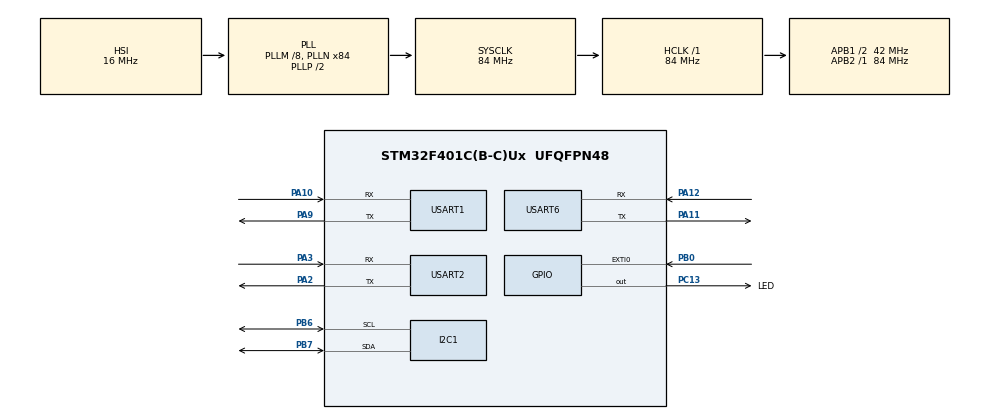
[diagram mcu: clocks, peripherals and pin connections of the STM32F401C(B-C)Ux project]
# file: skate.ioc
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Dma.Request0=USART1_RX
Dma.Request1=USART2_RX
Dma.Request2=USART6_RX
Dma.USART1_RX.0.Direction=DMA_PERIPH_TO_MEMORY
Dma.USART1_RX.0.FIFOMode=DMA_FIFOMODE_DISABLE
Dma.USART1_RX.0.Instance=DMA2_Stream2
Dma.USART1_RX.0.MemDataAlignment=DMA_MDATAALIGN_BYTE
Dma.USART1_RX.0.MemInc=DMA_MINC_ENABLE
Dma.USART1_RX.0.Mode=DMA_CIRCULAR
Dma.USART1_RX.0.PeriphDataAlignment=DMA_PDATAALIGN_BYTE
Dma.USART1_RX.0.PeriphInc=DMA_PINC_DISABLE
Dma.USART1_RX.0.Priority=DMA_PRIORITY_LOW
Dma.USART2_RX.1.Direction=DMA_PERIPH_TO_MEMORY
Dma.USART2_RX.1.FIFOMode=DMA_FIFOMODE_DISABLE
Dma.USART2_RX.1.Instance=DMA1_Stream5
Dma.USART2_RX.1.MemDataAlignment=DMA_MDATAALIGN_BYTE
Dma.USART2_RX.1.MemInc=DMA_MINC_ENABLE
Dma.USART2_RX.1.Mode=DMA_CIRCULAR
Dma.USART2_RX.1.PeriphDataAlignment=DMA_PDATAALIGN_BYTE
Dma.USART2_RX.1.PeriphInc=DMA_PINC_DISABLE
Dma.USART2_RX.1.Priority=DMA_PRIORITY_LOW
Dma.USART6_RX.2.Direction=DMA_PERIPH_TO_MEMORY
Dma.USART6_RX.2.FIFOMode=DMA_FIFOMODE_DISABLE
Dma.USART6_RX.2.Instance=DMA2_Stream1
Dma.USART6_RX.2.MemDataAlignment=DMA_MDATAALIGN_BYTE
Dma.USART6_RX.2.MemInc=DMA_MINC_ENABLE
Dma.USART6_RX.2.Mode=DMA_CIRCULAR
Dma.USART6_RX.2.PeriphDataAlignment=DMA_PDATAALIGN_BYTE
Dma.USART6_RX.2.PeriphInc=DMA_PINC_DISABLE
Dma.USART6_RX.2.Priority=DMA_PRIORITY_LOW
FREERTOS.Tasks01=defaultTask,48,2048,StartDefaultTask,Default,NULL,Static,defaultTaskBuffer,defaultTaskControlBlock;comms,8,2048,StartTask02,Default,NULL,Static,commsBuffer,commsControlBlock
FREERTOS.configCHECK_FOR_STACK_OVERFLOW=2
FREERTOS.configENABLE_BACKWARD_COMPATIBILITY=1
FREERTOS.configMINIMAL_STACK_SIZE=256
FREERTOS.configTOTAL_HEAP_SIZE=25360
I2C1.I2C_Mode=I2C_Fast
Mcu.Family=STM32F4
Mcu.Name=STM32F401C(B-C)Ux
Mcu.Package=UFQFPN48
NVIC.DMA1_Stream5_IRQn=true\:5\:0\:false\:false\:true\:true\:false\:true
NVIC.DMA2_Stream1_IRQn=true\:5\:0\:false\:false\:true\:true\:false\:true
NVIC.DMA2_Stream2_IRQn=true\:5\:0\:false\:false\:true\:true\:false\:true
NVIC.EXTI0_IRQn=true\:5\:0\:false\:false\:true\:true\:true\:true
NVIC.PriorityGroup=NVIC_PRIORITYGROUP_4
NVIC.TIM1_UP_TIM10_IRQn=true\:0\:0\:false\:false\:true\:false\:false\:true
NVIC.TimeBase=TIM1_UP_TIM10_IRQn
NVIC.TimeBaseIP=TIM10
NVIC.USART1_IRQn=true\:5\:0\:false\:false\:true\:true\:true\:true
NVIC.USART2_IRQn=true\:5\:0\:false\:false\:true\:true\:true\:true
NVIC.USART6_IRQn=true\:5\:0\:false\:false\:true\:true\:true\:true
PA10.Mode=Asynchronous
PA10.Signal=USART1_RX
PA11.Mode=Asynchronous
PA11.Signal=USART6_TX
PA12.Mode=Asynchronous
PA12.Signal=USART6_RX
PA13.Mode=Serial_Wire
PA13.Signal=SYS_JTMS-SWDIO
PA14.Mode=Serial_Wire
PA14.Signal=SYS_JTCK-SWCLK
PA2.Mode=Asynchronous
PA2.Signal=USART2_TX
PA3.Mode=Asynchronous
PA3.Signal=USART2_RX
PA9.Mode=Asynchronous
PA9.Signal=USART1_TX
PB0.GPIO_ModeDefaultEXTI=GPIO_MODE_IT_RISING_FALLING
PB0.GPIO_PuPd=GPIO_PULLDOWN
PB0.Signal=GPXTI0
PB6.Mode=I2C
PB6.Signal=I2C1_SCL
PB7.Mode=I2C
PB7.Signal=I2C1_SDA
PC13-ANTI_TAMP.GPIO_Label=LED
PC13-ANTI_TAMP.Signal=GPIO_Output
PH0\ -\ OSC_IN.Mode=HSE-External-Oscillator
PH0\ -\ OSC_IN.Signal=RCC_OSC_IN
PH1\ -\ OSC_OUT.Mode=HSE-External-Oscillator
PH1\ -\ OSC_OUT.Signal=RCC_OSC_OUT
ProjectManager.HeapSize=0x200
ProjectManager.StackSize=0x500
ProjectManager.TargetToolchain=STM32CubeIDE
RCC.48MHZClocksFreq_Value=42000000
RCC.AHBFreq_Value=84000000
RCC.APB1CLKDivider=RCC_HCLK_DIV2
RCC.APB1Freq_Value=42000000
RCC.APB1TimFreq_Value=84000000
RCC.APB2Freq_Value=84000000
RCC.APB2TimFreq_Value=84000000
RCC.CortexFreq_Value=84000000
RCC.HCLKFreq_Value=84000000
RCC.HSE_VALUE=25000000
RCC.HSI_VALUE=16000000
RCC.LSE_VALUE=32768
RCC.PLLM=8
RCC.PLLN=84
RCC.RCC_RTC_Clock_Source=RCC_RTCCLKSOURCE_LSI
RCC.RCC_RTC_Clock_SourceVirtual=RCC_RTCCLKSOURCE_LSI
RCC.SYSCLKFreq_VALUE=84000000
RCC.SYSCLKSource=RCC_SYSCLKSOURCE_PLLCLK
RCC.VCOOutputFreq_Value=168000000
TIM11.Period=65535
TIM11.Prescaler=83
USART1.VirtualMode=VM_ASYNC
USART2.VirtualMode=VM_ASYNC
USART6.VirtualMode=VM_ASYNC
VP_CRC_VS_CRC.Mode=CRC_Activate
VP_FREERTOS_VS_CMSIS_V2.Mode=CMSIS_V2
VP_SYS_VS_tim10.Mode=TIM10
VP_TIM11_VS_ClockSourceINT.Mode=Enable_Timer
board=custom

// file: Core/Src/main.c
/* USER CODE BEGIN Header */
/**
  ******************************************************************************
  * @file           : main.c
  * @brief          : Main program body
  ******************************************************************************
  * @attention
  *
  * <h2><center>&copy; Copyright (c) 2019 STMicroelectronics.
  * All rights reserved.</center></h2>
  *
  * This software component is licensed by ST under Ultimate Liberty license
  * SLA0044, the "License"; You may not use this file except in compliance with
  * the License. You may obtain a copy of the License at:
  *                             www.st.com/SLA0044
  *
  ******************************************************************************
  */
/* USER CODE END Header */

#include "main.h"
#include "cmsis_os.h"
#include "crc.h"
#include "dma.h"
#include "i2c.h"
#include "tim.h"
#include "usart.h"
#include "gpio.h"

void SystemClock_Config(void);
void MX_FREERTOS_Init(void);

int main(void)
{

  /* MCU Configuration--------------------------------------------------------*/

  /* Reset of all peripherals, Initializes the Flash interface and the Systick. */
  HAL_Init();

  /* Configure the system clock */
  SystemClock_Config();

  /* USER CODE BEGIN SysInit */
  MX_DMA_Init();

  /* USER CODE END SysInit */

  /* Initialize all configured peripherals */
  MX_GPIO_Init();
  MX_I2C1_Init();
  MX_USART1_UART_Init();
  MX_USART2_UART_Init();
  MX_USART6_UART_Init();
  MX_DMA_Init();
  MX_TIM11_Init();
  MX_CRC_Init();

  /* Call init function for freertos objects (in freertos.c) */
  MX_FREERTOS_Init();

  /* Start scheduler */
  osKernelStart();

  /* We should never get here as control is now taken by the scheduler */

  /* Infinite loop */
  while (1)
  {

  }
}

void SystemClock_Config(void)
{
  RCC_OscInitTypeDef RCC_OscInitStruct = {0};
  RCC_ClkInitTypeDef RCC_ClkInitStruct = {0};

  /** Configure the main internal regulator output voltage
  */
  __HAL_RCC_PWR_CLK_ENABLE();
  __HAL_PWR_VOLTAGESCALING_CONFIG(PWR_REGULATOR_VOLTAGE_SCALE2);
  /** Initializes the CPU, AHB and APB busses clocks
  */
  RCC_OscInitStruct.OscillatorType = RCC_OSCILLATORTYPE_HSI;
  RCC_OscInitStruct.HSIState = RCC_HSI_ON;
  RCC_OscInitStruct.HSICalibrationValue = RCC_HSICALIBRATION_DEFAULT;
  RCC_OscInitStruct.PLL.PLLState = RCC_PLL_ON;
  RCC_OscInitStruct.PLL.PLLSource = RCC_PLLSOURCE_HSI;
  RCC_OscInitStruct.PLL.PLLM = 8;
  RCC_OscInitStruct.PLL.PLLN = 84;
  RCC_OscInitStruct.PLL.PLLP = RCC_PLLP_DIV2;
  RCC_OscInitStruct.PLL.PLLQ = 4;
  if (HAL_RCC_OscConfig(&RCC_OscInitStruct) != HAL_OK)
  {
    Error_Handler();
  }
  /** Initializes the CPU, AHB and APB busses clocks
  */
  RCC_ClkInitStruct.ClockType = RCC_CLOCKTYPE_HCLK|RCC_CLOCKTYPE_SYSCLK
                              |RCC_CLOCKTYPE_PCLK1|RCC_CLOCKTYPE_PCLK2;
  RCC_ClkInitStruct.SYSCLKSource = RCC_SYSCLKSOURCE_PLLCLK;
  RCC_ClkInitStruct.AHBCLKDivider = RCC_SYSCLK_DIV1;
  RCC_ClkInitStruct.APB1CLKDivider = RCC_HCLK_DIV2;
  RCC_ClkInitStruct.APB2CLKDivider = RCC_HCLK_DIV1;

  if (HAL_RCC_ClockConfig(&RCC_ClkInitStruct, FLASH_LATENCY_2) != HAL_OK)
  {
    Error_Handler();
  }
}

void HAL_TIM_PeriodElapsedCallback(TIM_HandleTypeDef *htim)
{
  if (htim->Instance == TIM10) {
    HAL_IncTick();
  }
}

void Error_Handler(void)
{
}

/************************ (C) COPYRIGHT STMicroelectronics *****END OF FILE****/

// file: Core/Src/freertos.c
/* USER CODE BEGIN Header */
/**
  ******************************************************************************
  * File Name          : freertos.c
  * Description        : Code for freertos applications
  ******************************************************************************
  * @attention
  *
  * <h2><center>&copy; Copyright (c) 2019 STMicroelectronics.
  * All rights reserved.</center></h2>
  *
  * This software component is licensed by ST under Ultimate Liberty license
  * SLA0044, the "License"; You may not use this file except in compliance with
  * the License. You may obtain a copy of the License at:
  *                             www.st.com/SLA0044
  *
  ******************************************************************************
  */
/* USER CODE END Header */

#include "FreeRTOS.h"
#include "task.h"
#include "main.h"
#include "cmsis_os.h"

/* USER CODE BEGIN Includes */

#include "i2c.h"
#include "usart.h"

#include "../../App/main.h"
/* USER CODE END Includes */

/* USER CODE BEGIN PTD */

typedef struct MpuUpdates {
	int16_t gyro[3];
	int16_t acc[3];
} MpuUpdate;

/* USER CODE END PTD */

/* USER CODE BEGIN Variables */
int global_var = 0;
MpuUpdate update;
/* USER CODE END Variables */
typedef StaticTask_t osStaticThreadDef_t;
osThreadId_t defaultTaskHandle;
uint32_t defaultTaskBuffer[ 2048 ];
osStaticThreadDef_t defaultTaskControlBlock;
osThreadId_t commsHandle;
uint32_t commsBuffer[ 2048 ];
osStaticThreadDef_t commsControlBlock;

/* USER CODE BEGIN FunctionPrototypes */

#define BOARD_ROTATION_MACRO BOARD_ROTATION_UPSIDE_DOWN_X
#define BOARD_ROTATION_UPSIDE_DOWN_X(XYZ) XYZ[1]*=-1; XYZ[2]*=-1;  // rotated 180 deg around X axis

void i2c_writeReg(uint8_t hwAddr, uint8_t wAddr, uint8_t value) {
	HAL_I2C_Mem_Write(&hi2c1, hwAddr << 1, wAddr, I2C_MEMADD_SIZE_8BIT, &value, 1, 100000);
}

void i2c_read_reg_to_buf(uint8_t hwAddr, uint8_t rAddr, uint8_t* buf, uint8_t size) {
	HAL_I2C_Mem_Read(&hi2c1, hwAddr << 1, rAddr, I2C_MEMADD_SIZE_8BIT, buf, size, 100000);
}

int16_t getAccVal(uint8_t* rawData, uint8_t axis) {
	return ((int16_t)((rawData[axis*2]<<8) | rawData[axis*2 + 1]))>>2;
}

int16_t getGyroVal(uint8_t* rawData, uint8_t axis) {
	return ((int16_t)((rawData[axis * 2] << 8) | rawData[axis * 2 + 1])) >> 2;  // range: +/- 8192; +/- 500 deg/sec
}

void handleGyroData(int16_t* gyro,  uint8_t* rawData) {
	gyro[0] =  getGyroVal(rawData, 1);
	gyro[1] =  getGyroVal(rawData, 0);
	gyro[2] = -getGyroVal(rawData, 2);
	BOARD_ROTATION_MACRO(gyro);
}

void handleAccData(int16_t* acc, uint8_t* rawData) {
	acc[0] = -getAccVal(rawData, 1);
	acc[1] = -getAccVal(rawData, 0);
	acc[2] =  getAccVal(rawData, 2);
	BOARD_ROTATION_MACRO(acc);
}

void handleRawData(MpuUpdate* update, uint8_t* rawData) {
	handleGyroData(update->gyro, rawData+8); // first 6 are ACC data, then 2 temperature and next 6 are gyro data
	handleAccData(update->acc, rawData);
}

/* USER CODE END FunctionPrototypes */

void StartDefaultTask(void *argument);
void StartTask02(void *argument);

void MX_FREERTOS_Init(void); /* (MISRA C 2004 rule 8.1) */

/* Hook prototypes */
void vApplicationStackOverflowHook(xTaskHandle xTask, signed char *pcTaskName);

/* USER CODE BEGIN 4 */
__weak void vApplicationStackOverflowHook(xTaskHandle xTask, signed char *pcTaskName)
{
   /* Run time stack overflow checking is performed if
   configCHECK_FOR_STACK_OVERFLOW is defined to 1 or 2. This hook function is
   called if a stack overflow is detected. */
}
/* USER CODE END 4 */

void MX_FREERTOS_Init(void) {
osKernelInitialize();

  /* Create the thread(s) */
  /* definition and creation of defaultTask */
  const osThreadAttr_t defaultTask_attributes = {
    .name = "defaultTask",
    .stack_mem = &defaultTaskBuffer[0],
    .stack_size = sizeof(defaultTaskBuffer),
    .cb_mem = &defaultTaskControlBlock,
    .cb_size = sizeof(defaultTaskControlBlock),
    .priority = (osPriority_t) osPriorityRealtime,
  };
  defaultTaskHandle = osThreadNew(StartDefaultTask, NULL, &defaultTask_attributes);

  /* definition and creation of comms */
  const osThreadAttr_t comms_attributes = {
    .name = "comms",
    .stack_mem = &commsBuffer[0],
    .stack_size = sizeof(commsBuffer),
    .cb_mem = &commsControlBlock,
    .cb_size = sizeof(commsControlBlock),
    .priority = (osPriority_t) osPriorityLow,
  };
  commsHandle = osThreadNew(StartTask02, NULL, &comms_attributes);

}

void StartDefaultTask(void *argument)
{

  /* USER CODE BEGIN StartDefaultTask */
  /* Infinite loop */

	MainTask();

  /* USER CODE END StartDefaultTask */
}

void StartTask02(void *argument)
{
  /* USER CODE BEGIN StartTask02 */
  /* Infinite loop */
  CommsTask();
  /* USER CODE END StartTask02 */
}

/************************ (C) COPYRIGHT STMicroelectronics *****END OF FILE****/
